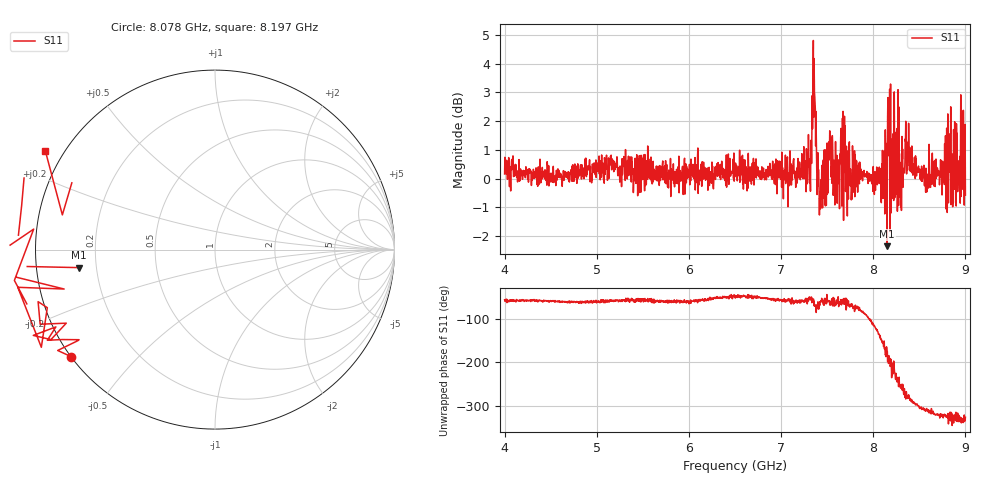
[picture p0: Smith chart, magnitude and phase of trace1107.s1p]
! Created with skrf 1.8.0 (http://scikit-rf.org).
# Hz S RI R 50.0
!freq ReS11 ImS11
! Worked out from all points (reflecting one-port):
!   1601 points, 4 GHz to 9 GHz, reference 50 ohm
!   lowest |S11| = -2.3 dB at 8.15 GHz (marker M1), VSWR 7.46, Z = 6.73 - j3.24 ohm
!   phase of S11 starts at -56 deg and turns -270 deg over the sweep
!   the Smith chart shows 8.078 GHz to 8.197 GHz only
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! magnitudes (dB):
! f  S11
! 4 GHz  0.2
! 4.625 GHz  -0.3
! 5.162 GHz  0.3
! 5.25 GHz  -0.1
! 5.875 GHz  -0.2
! 6.5 GHz  0.5
! 7.125 GHz  0.4
! 7.297 GHz  1.5
! 7.359 GHz  3.9
! 7.412 GHz  -0.3
! 7.538 GHz  1.4
! 7.591 GHz  1.3
! 7.669 GHz  1.4
! 7.75 GHz  -0.2
! 8.066 GHz  0.4
! 8.15 GHz  -2.3
! 8.181 GHz  2.1
! 8.209 GHz  1.0
! 8.253 GHz  0.6
! 8.312 GHz  1.5
! 8.334 GHz  0.3
! 8.375 GHz  0.7
! 8.575 GHz  -0.2
! 8.766 GHz  0.4
! 8.822 GHz  1.6
! 8.869 GHz  -0.8
! 8.972 GHz  0.7
! 9 GHz  -0.6
